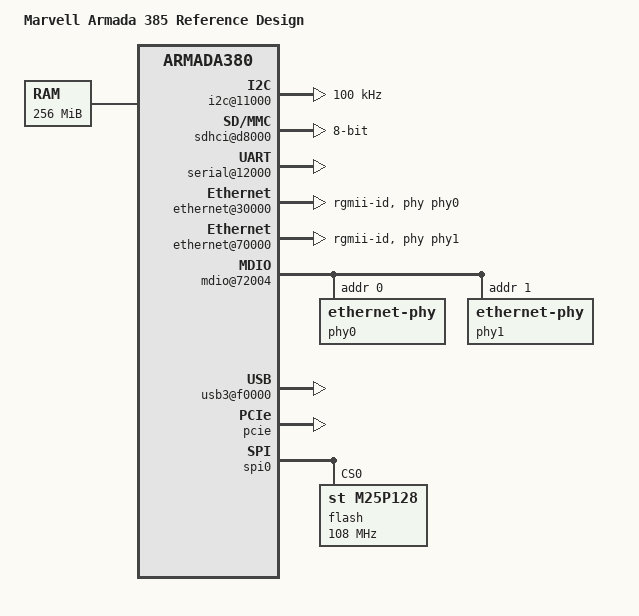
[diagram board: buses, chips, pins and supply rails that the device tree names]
// SPDX-License-Identifier: (GPL-2.0+ OR MIT)
/*
 * Device Tree file for Marvell Armada 388 Reference Design board
 * (RD-88F6820-AP)
 *
 *  Copyright (C) 2014 Marvell
 *
 * Gregory CLEMENT <gregory.clement@free-electrons.com>
 * Thomas Petazzoni <thomas.petazzoni@free-electrons.com>
 */

/dts-v1/;
#include "armada-388.dtsi"

/ {
	model = "Marvell Armada 385 Reference Design";
	compatible = "marvell,a385-rd", "marvell,armada388",
		"marvell,armada385","marvell,armada380";

	chosen {
		stdout-path = "serial0:115200n8";
	};

	memory {
		device_type = "memory";
		reg = <0x00000000 0x10000000>; /* 256 MB */
	};

	soc {
		ranges = <MBUS_ID(0xf0, 0x01) 0 0xf1000000 0x100000
			  MBUS_ID(0x01, 0x1d) 0 0xfff00000 0x100000
			  MBUS_ID(0x09, 0x19) 0 0xf1100000 0x10000
			  MBUS_ID(0x09, 0x15) 0 0xf1110000 0x10000>;

		internal-regs {
			i2c@11000 {
				status = "okay";
				clock-frequency = <100000>;
			};

			sdhci@d8000 {
				pinctrl-names = "default";
				pinctrl-0 = <&sdhci_pins>;
				broken-cd;
				no-1-8-v;
				wp-inverted;
				bus-width = <8>;
				status = "okay";
			};

			serial@12000 {
				status = "okay";
			};

			ethernet@30000 {
				status = "okay";
				phy = <&phy0>;
				phy-mode = "rgmii-id";
			};

			ethernet@70000 {
				status = "okay";
				phy = <&phy1>;
				phy-mode = "rgmii-id";
			};


			mdio@72004 {
				phy0: ethernet-phy@0 {
					reg = <0>;
				};

				phy1: ethernet-phy@1 {
					reg = <1>;
				};
			};

			usb3@f0000 {
				status = "okay";
			};
		};

		pcie {
			status = "okay";
			/*
			 * One PCIe units is accessible through
			 * standard PCIe slot on the board.
			 */
			pcie@1,0 {
				/* Port 0, Lane 0 */
				status = "okay";
			};
		};
	};
};

&spi0 {
	status = "okay";

	flash@0 {
		#address-cells = <1>;
		#size-cells = <1>;
		compatible = "st,m25p128", "jedec,spi-nor";
		reg = <0>; /* Chip select 0 */
		spi-max-frequency = <108000000>;
	};
};

